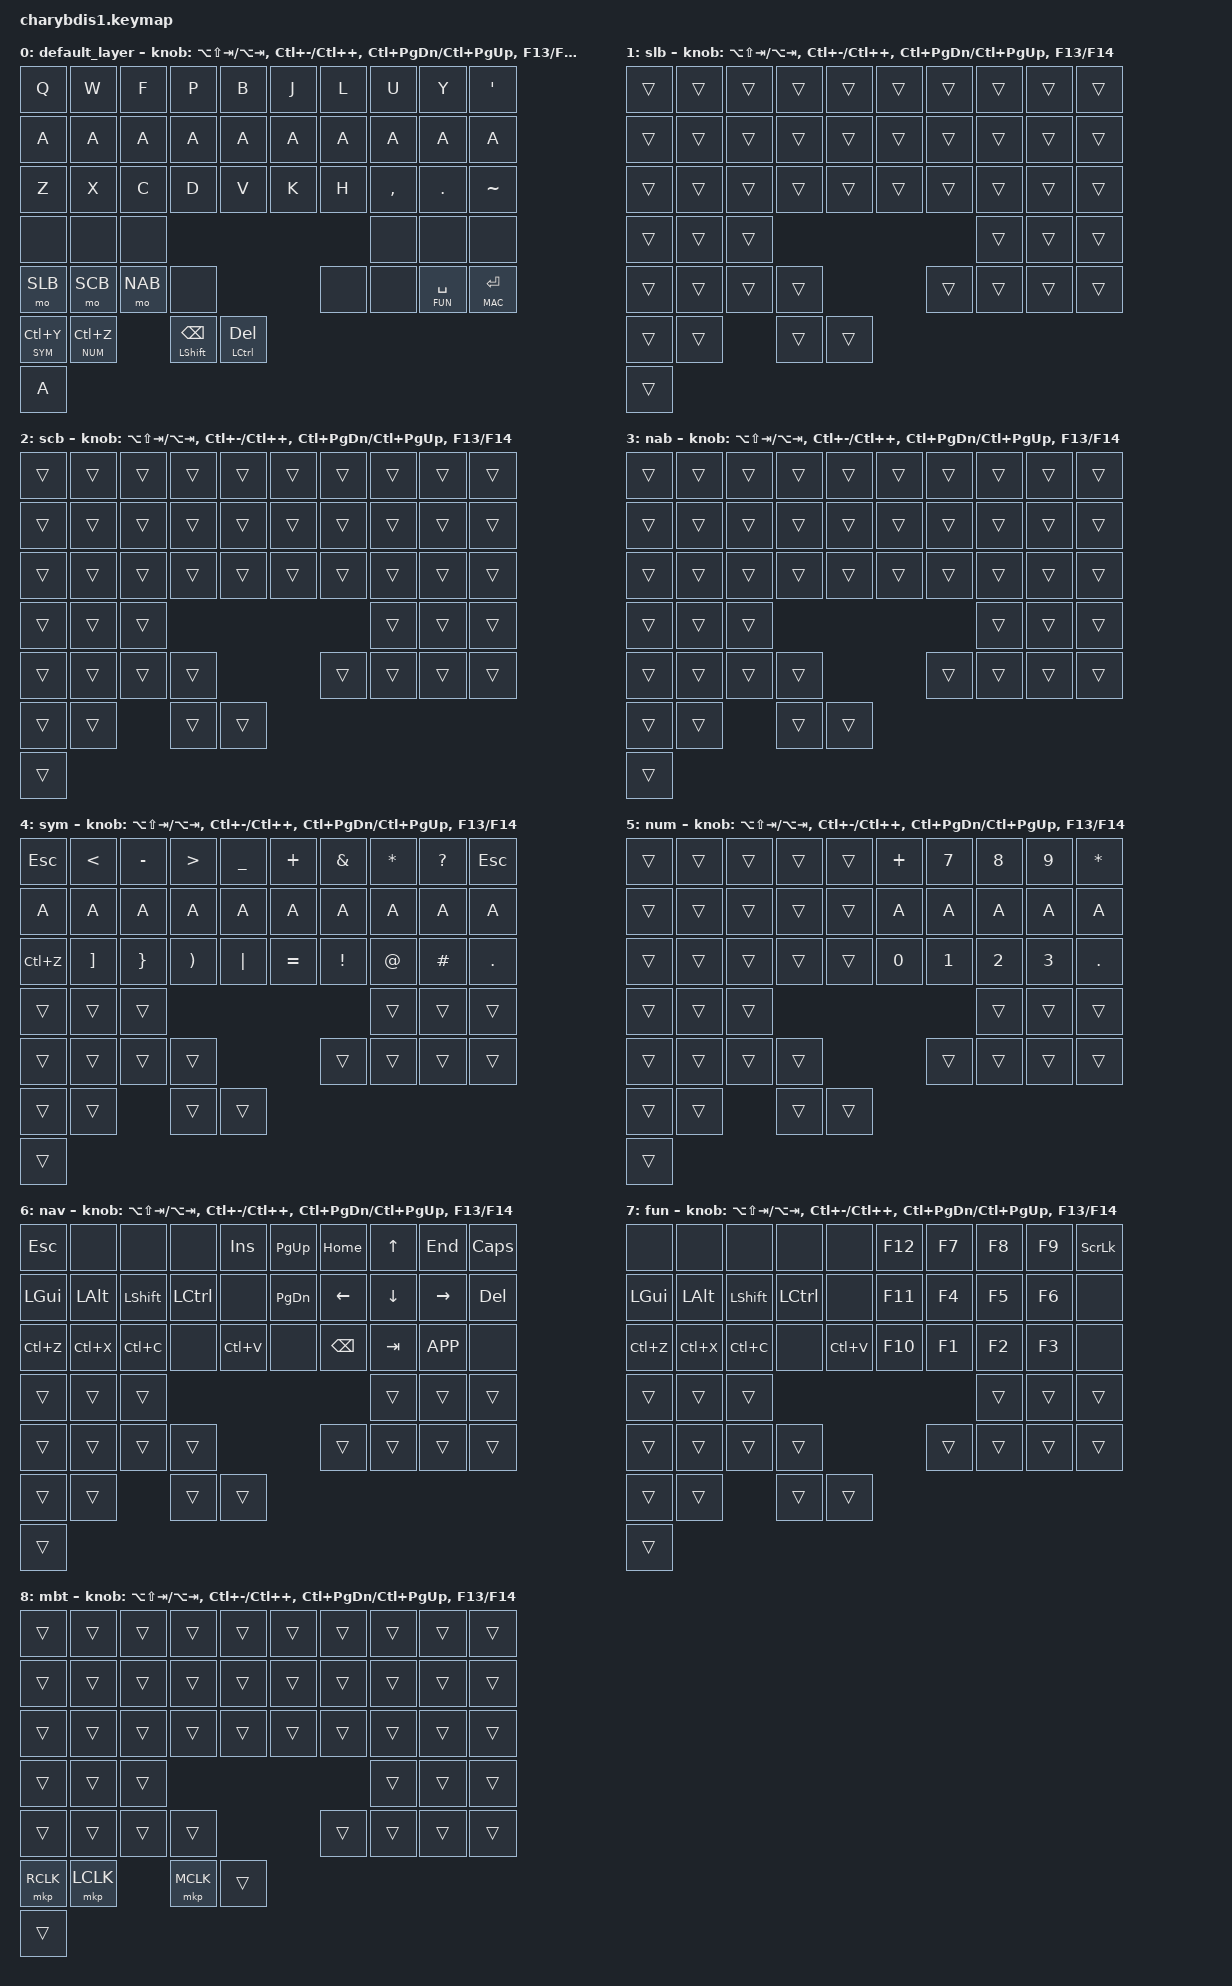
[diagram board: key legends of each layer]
#include <behaviors.dtsi>
#include <dt-bindings/zmk/keys.h>
#include <dt-bindings/zmk/bt.h>
#include <dt-bindings/zmk/mouse.h>
//#include "helper.h"
//#include "behaviors.dtsi"
//#include "combos.dtsi"
//#include "greek.dtsi"

// Requires petejohanson/zmk/tree/stephen/split-encoder (Encoders on both sides)
//- Requires victorlucachi/zmk/blob/pmw3610-aml (Trackball)

// Layers
#define DEF 0 // Alpha
#define SLB 1 // Slow Ball
#define SCB 2 // Scroll Ball
#define NAB 3 // Navigation Ball
#define GRK 4 // Greek
#define SYM 5 // Symbol
#define NAV 6 // Navigation
#define FUN 7 // Function
#define NUM 8 // Number
#define MAC 9 // Macro
#define MBT 10 // Mouse Buttons

&caps_word {
     /delete-property/ ignore-modifiers;
};

/ {
    keymap {
        compatible = "zmk,keymap";

        default_layer {
            bindings = <
    //---------------------------
    //---------------------------
    //----------ALPHA------------
    //---------------------------
    //---------------------------
    //                           LEFT                                                      RIGHT
    //     PINKY      RING      MIDDLE      INDEX      INNER         INNER      INDEX     MIDDLE      RING       PINKY
    // ┌────00────┬────01────┬────02────┬────03────┬────04────┐  ┌────05────┬────06────┬────07────┬────08────┬────09────┐
        &kp Q      &kp W      &kp F      &kp P      &kp B         &kp J      &kp L      &kp U      &kp Y      &kp APOS
    // ├────10────┼────11────┼────12────┼────13────┼────14────┤  ├────15────┼────16────┼────17────┼────18────┼────19────┤
        /*HRML(A,    R,         S,          T)        &kp G         &kp M      HRMR(N,     E,        I,         O)*/
        &kp A &kp A &kp A &kp A &kp A &kp A &kp A &kp A &kp A &kp A 
    // ├────20────┼────21────┼────22────┼────23────┴────24────┘  ├────25────┴────26────┼────27────┼────28────┼────29────┤
        &kp Z      &kp X      &kp C      &kp D      &kp V         &kp K      &kp H      &kp COMMA  &kp DOT    &kp TILDE
    // ├────30────┼────31────┼────32E───┼──────────┴──────────┘  └──────────┴──────────┼────33E───┼────34────┼────35────┤
        &none      &none      &none                                                     &none      &none      &none
    // └──────────┴──────────┴──────────┘                                              └──────────┴──────────┴──────────┘

    //                     THUMB                                                                THUMB
    //     TOP       MIDDLE     BOTTOM     ENCODER                             ENCODER    BOTTOM      MIDDLE       TOP
    // ┌────36────┬────37────┬────38────┬────39────┐                        ┌────40────┬────41───┬──────42─────┬──────43─────┐
        &mo SLB    &mo SCB    &mo NAB    &none                               &none      &none     &lt FUN SPACE &lt MAC ENTER
    // └──────────┴──────────┴──────────┴──────────┘                        └──────────┴─────────┴─────────────┴─────────────┘

    //        UP           DOWN          LEFT           RIGHT          PUSH
    // ┌──────44─────┬──────45─────┬──────46──────┬──────47─────┬───────48──────┐
        &lt SYM LC(Y) &lt NUM LC(Z) &mt LSHFT BKSP &mt LCTRL DEL /*&tog_mo MBT GRK*/
        &kp A 
    // └─────────────┴─────────────┴──────────────┴─────────────┴───────────────┘
            >;
            trackball-bindings = <&tmv_coarse>;
            sensor-bindings = <
                &inc_dec_kp LA(LS(TAB)) LA(TAB)
                &inc_dec_kp LC(MINUS)   LC(PLUS)
                &inc_dec_kp LC(PG_DN)   LC(PG_UP)
                &inc_dec_kp F13         F14
            >;
        };
        slb {
            bindings = <
    //---------------------------
    //---------------------------
    //--------SLOW BALL----------
    //---------------------------
    //---------------------------
    //                           LEFT                                                      RIGHT
    //     PINKY      RING      MIDDLE      INDEX      INNER         INNER      INDEX     MIDDLE      RING       PINKY
    // ┌────00────┬────01────┬────02────┬────03────┬────04────┐  ┌────05────┬────06────┬────07────┬────08────┬────09────┐
        &trans     &trans     &trans     &trans     &trans        &trans     &trans     &trans     &trans     &trans
    // ├────10────┼────11────┼────12────┼────13────┼────14────┤  ├────15────┼────16────┼────17────┼────18────┼────19────┤
        &trans     &trans     &trans     &trans     &trans        &trans     &trans     &trans     &trans     &trans
    // ├────20────┼────21────┼────22────┼────23────┴────24────┘  ├────25────┴────26────┼────27────┼────28────┼────29────┤
        &trans     &trans     &trans     &trans     &trans        &trans     &trans     &trans     &trans     &trans
    // ├────30────┼────31────┼────32E───┼──────────┴──────────┘  └──────────┴──────────┼────33E───┼────34────┼────35────┤
        &trans     &trans     &trans                                                    &trans     &trans     &trans
    // └──────────┴──────────┴──────────┘                                              └──────────┴──────────┴──────────┘

    //                     THUMB                                                                THUMB
    //     TOP       MIDDLE     BOTTOM     ENCODER                             ENCODER    BOTTOM     MIDDLE      TOP
    // ┌────36────┬────37────┬────38────┬────39────┐                        ┌────40────┬────41────┬────42────┬────43────┐
        &trans     &trans     &trans     &trans                              &trans     &trans     &trans     &trans
    // └──────────┴──────────┴──────────┴──────────┘                        └──────────┴──────────┴──────────┴──────────┘

    //      UP        DOWN       LEFT       RIGHT      PUSH
    // ┌────44────┬────45────┬────46────┬────47────┬────48────┐
        &trans     &trans     &trans     &trans     &trans
    // └──────────┴──────────┴──────────┴──────────┴──────────┘
            >;
            trackball-bindings = <&tmv_fine>;
            sensor-bindings = <
                &inc_dec_kp LA(LS(TAB)) LA(TAB)
                &inc_dec_kp LC(MINUS)   LC(PLUS)
                &inc_dec_kp LC(PG_DN)   LC(PG_UP)
                &inc_dec_kp F13         F14
            >;
        };
        scb {
            bindings = <
    //---------------------------
    //---------------------------
    //-------SCROLL BALL---------
    //---------------------------
    //---------------------------
    //                           LEFT                                                      RIGHT
    //     PINKY      RING      MIDDLE      INDEX      INNER         INNER      INDEX     MIDDLE      RING       PINKY
    // ┌────00────┬────01────┬────02────┬────03────┬────04────┐  ┌────05────┬────06────┬────07────┬────08────┬────09────┐
        &trans     &trans     &trans     &trans     &trans        &trans     &trans     &trans     &trans     &trans
    // ├────10────┼────11────┼────12────┼────13────┼────14────┤  ├────15────┼────16────┼────17────┼────18────┼────19────┤
        &trans     &trans     &trans     &trans     &trans        &trans     &trans     &trans     &trans     &trans
    // ├────20────┼────21────┼────22────┼────23────┴────24────┘  ├────25────┴────26────┼────27────┼────28────┼────29────┤
        &trans     &trans     &trans     &trans     &trans        &trans     &trans     &trans     &trans     &trans
    // ├────30────┼────31────┼────32E───┼──────────┴──────────┘  └──────────┴──────────┼────33E───┼────34────┼────35────┤
        &trans     &trans     &trans                                                    &trans     &trans     &trans
    // └──────────┴──────────┴──────────┘                                              └──────────┴──────────┴──────────┘

    //                     THUMB                                                                THUMB
    //     TOP       MIDDLE     BOTTOM     ENCODER                             ENCODER    BOTTOM     MIDDLE      TOP
    // ┌────36────┬────37────┬────38────┬────39────┐                        ┌────40────┬────41────┬────42────┬────43────┐
        &trans     &trans     &trans     &trans                              &trans     &trans     &trans     &trans
    // └──────────┴──────────┴──────────┴──────────┘                        └──────────┴──────────┴──────────┴──────────┘

    //      UP        DOWN       LEFT       RIGHT      PUSH
    // ┌────44────┬────45────┬────46────┬────47────┬────48────┐
        &trans     &trans     &trans     &trans     &trans
    // └──────────┴──────────┴──────────┴──────────┴──────────┘
            >;
            trackball-bindings = <&tsl>;
            sensor-bindings = <
                &inc_dec_kp LA(LS(TAB)) LA(TAB)
                &inc_dec_kp LC(MINUS)   LC(PLUS)
                &inc_dec_kp LC(PG_DN)   LC(PG_UP)
                &inc_dec_kp F13         F14
            >;
        };
        nab {
            bindings = <
    //---------------------------
    //---------------------------
    //-----NAVIGATION BALL-------
    //---------------------------
    //---------------------------
    //                           LEFT                                                      RIGHT
    //     PINKY      RING      MIDDLE      INDEX      INNER         INNER      INDEX     MIDDLE      RING       PINKY
    // ┌────00────┬────01────┬────02────┬────03────┬────04────┐  ┌────05────┬────06────┬────07────┬────08────┬────09────┐
        &trans     &trans     &trans     &trans     &trans        &trans     &trans     &trans     &trans     &trans
    // ├────10────┼────11────┼────12────┼────13────┼────14────┤  ├────15────┼────16────┼────17────┼────18────┼────19────┤
        &trans     &trans     &trans     &trans     &trans        &trans     &trans     &trans     &trans     &trans
    // ├────20────┼────21────┼────22────┼────23────┴────24────┘  ├────25────┴────26────┼────27────┼────28────┼────29────┤
        &trans     &trans     &trans     &trans     &trans        &trans     &trans     &trans     &trans     &trans
    // ├────30────┼────31────┼────32E───┼──────────┴──────────┘  └──────────┴──────────┼────33E───┼────34────┼────35────┤
        &trans     &trans     &trans                                                    &trans     &trans     &trans
    // └──────────┴──────────┴──────────┘                                              └──────────┴──────────┴──────────┘

    //                     THUMB                                                                THUMB
    //     TOP       MIDDLE     BOTTOM     ENCODER                             ENCODER    BOTTOM     MIDDLE      TOP
    // ┌────36────┬────37────┬────38────┬────39────┐                        ┌────40────┬────41────┬────42────┬────43────┐
        &trans     &trans     &trans     &trans                              &trans     &trans     &trans     &trans
    // └──────────┴──────────┴──────────┴──────────┘                        └──────────┴──────────┴──────────┴──────────┘

    //      UP        DOWN       LEFT       RIGHT      PUSH
    // ┌────44────┬────45────┬────46────┬────47────┬────48────┐
        &trans     &trans     &trans     &trans     &trans
    // └──────────┴──────────┴──────────┴──────────┴──────────┘
            >;
            trackball-bindings = <&tkp RIGHT LEFT DOWN UP>;
            sensor-bindings = <
                &inc_dec_kp LA(LS(TAB)) LA(TAB)
                &inc_dec_kp LC(MINUS)   LC(PLUS)
                &inc_dec_kp LC(PG_DN)   LC(PG_UP)
                &inc_dec_kp F13         F14
            >;
        };
        /*grk {
            bindings = <
    //---------------------------
    //---------------------------
    //----------GREEK------------
    //---------------------------
    //---------------------------
    //                           LEFT                                                      RIGHT
    //     PINKY      RING      MIDDLE      INDEX      INNER         INNER      INDEX     MIDDLE      RING       PINKY
    // ┌────00────┬────01────┬────02────┬────03────┬────04────┐  ┌────05────┬────06────┬────07────┬────08────┬────09────┐
        &el_ko     &el_se     &el_ph     &el_p      &el_b         &el_xi     &el_l      &el_u      &el_th     &kp APOS
    // ├────10────┼────11────┼────12────┼────13────┼────14────┤  ├────15────┼────16────┼────17────┼────18────┼────19────┤
        &el_a      &el_r      &el_s      &el_t      &el_g         &el_m      &el_n      &el_e      &el_i      &el_o
    // ├────20────┼────21────┼────22────┼────23────┴────24────┘  ├────25────┴────26────┼────27────┼────28────┼────29────┤
        &el_z      &el_x      &el_ps     &el_d      &el_w         &el_k      &el_h      &trans     &trans     &el_sp
    // ├────30────┼────31────┼────32E───┼──────────┴──────────┘  └──────────┴──────────┼────33E───┼────34────┼────35────┤
        &trans     &trans     &trans                                                    &trans     &trans     &trans
    // └──────────┴──────────┴──────────┘                                              └──────────┴──────────┴──────────┘

    //                     THUMB                                                                THUMB
    //     TOP       MIDDLE     BOTTOM     ENCODER                             ENCODER    BOTTOM     MIDDLE      TOP
    // ┌────36────┬────37────┬────38────┬────39────┐                        ┌────40────┬────41────┬────42────┬────43────┐
        &trans     &trans     &trans     &trans                              &trans     &trans     &trans     &trans
    // └──────────┴──────────┴──────────┴──────────┘                        └──────────┴──────────┴──────────┴──────────┘

    //      UP        DOWN       LEFT       RIGHT      PUSH
    // ┌────44────┬────45────┬────46────┬────47────┬────48────┐
        &trans     &trans     &trans     &trans     &trans
    // └──────────┴──────────┴──────────┴──────────┴──────────┘
            >;
            trackball-bindings = <&tmv_coarse>;
            sensor-bindings = <
                &inc_dec_kp LA(LS(TAB)) LA(TAB)
                &inc_dec_kp LC(MINUS)   LC(PLUS)
                &inc_dec_kp LC(PG_DN)   LC(PG_UP)
                &inc_dec_kp F13         F14
            >;
        };*/
        sym {
            bindings = <
    //---------------------------
    //---------------------------
    //----------SYMBOL-----------
    //---------------------------
    //---------------------------
    //                           LEFT                                                      RIGHT
    //     PINKY      RING      MIDDLE      INDEX      INNER         INNER      INDEX     MIDDLE      RING       PINKY
    // ┌────00────┬────01────┬────02────┬────03────┬────04────┐  ┌────05────┬────06────┬────07────┬────08────┬────09────┐
        &kp ESC    &kp LT     &kp MINUS  &kp GT     &kp UNDER     &kp PLUS   &kp AMPS   &kp STAR   &kp QMARK  &kp ESC
    // ├────10────┼────11────┼────12────┼────13────┼────14────┤  ├────15────┼────16────┼────17────┼────18────┼────19────┤
        /*HRML(TAB,  LBKT,      LBRC,      LPAR)      &kp COLON     &kp SEMI   HRMR(DLLR, PRCNT,     CARET,     FSLH)*/
        &kp A &kp A &kp A &kp A &kp A &kp A &kp A &kp A &kp A &kp A 
    // ├────20────┼────21────┼────22────┼────23────┴────24────┘  ├────25────┴────26────┼────27────┼────28────┼────29────┤
        &kp LC(Z)  &kp RBKT   &kp RBRC   &kp RPAR   &kp PIPE      &kp EQUAL  &kp EXCL   &kp AT     &kp HASH   &kp DOT
    // ├────30────┼────31────┼────32E───┼──────────┴──────────┘  └──────────┴──────────┼────33E───┼────34────┼────35────┤
        &trans     &trans     &trans                                                    &trans     &trans     &trans
    // └──────────┴──────────┴──────────┘                                              └──────────┴──────────┴──────────┘

    //                     THUMB                                                                THUMB
    //     TOP       MIDDLE     BOTTOM     ENCODER                             ENCODER    BOTTOM     MIDDLE      TOP
    // ┌────36────┬────37────┬────38────┬────39────┐                        ┌────40────┬────41────┬────42────┬────43────┐
        &trans     &trans     &trans     &trans                              &trans     &trans     &trans     &trans
    // └──────────┴──────────┴──────────┴──────────┘                        └──────────┴──────────┴──────────┴──────────┘

    //      UP        DOWN       LEFT       RIGHT      PUSH
    // ┌────44────┬────45────┬────46────┬────47────┬────48────┐
        &trans     &trans     &trans     &trans     &trans
    // └──────────┴──────────┴──────────┴──────────┴──────────┘
            >;
            trackball-bindings = <&tmv_coarse>;
            sensor-bindings = <
                &inc_dec_kp LA(LS(TAB)) LA(TAB)
                &inc_dec_kp LC(MINUS)   LC(PLUS)
                &inc_dec_kp LC(PG_DN)   LC(PG_UP)
                &inc_dec_kp F13         F14
            >;
        };
        num {
            bindings = <
    //---------------------------
    //---------------------------
    //----------NUMBER-----------
    //---------------------------
    //---------------------------
    //                           LEFT                                                      RIGHT
    //     PINKY      RING      MIDDLE      INDEX      INNER         INNER      INDEX     MIDDLE      RING       PINKY
    // ┌────00────┬────01────┬────02────┬────03────┬────04────┐  ┌────05────┬────06────┬────07────┬────08────┬────09────┐
        &trans     &trans     &trans     &trans     &trans        &kp PLUS   &kp N7     &kp N8     &kp N9     &kp STAR
    // ├────10────┼────11────┼────12────┼────13────┼────14────┤  ├────15────┼────16────┼────17────┼────18────┼────19────┤
        &trans     &trans     &trans     &trans     &trans        /*&kp MINUS  HRMR(N4,   N5,        N6,        FSLH)*/
        &kp A &kp A &kp A &kp A &kp A 
    // ├────20────┼────21────┼────22────┼────23────┴────24────┘  ├────25────┴────26────┼────27────┼────28────┼────29────┤
        &trans     &trans     &trans     &trans     &trans        &kp N0     &kp N1     &kp N2     &kp N3     &kp DOT
    // ├────30────┼────31────┼────32E───┼──────────┴──────────┘  └──────────┴──────────┼────33E───┼────34────┼────35────┤
        &trans     &trans     &trans                                                    &trans     &trans     &trans
    // └──────────┴──────────┴──────────┘                                              └──────────┴──────────┴──────────┘

    //                     THUMB                                                                THUMB
    //     TOP       MIDDLE     BOTTOM     ENCODER                             ENCODER    BOTTOM     MIDDLE      TOP
    // ┌────36────┬────37────┬────38────┬────39────┐                        ┌────40────┬────41────┬────42────┬────43────┐
        &trans     &trans     &trans     &trans                              &trans     &trans     &trans     &trans
    // └──────────┴──────────┴──────────┴──────────┘                        └──────────┴──────────┴──────────┴──────────┘

    //      UP        DOWN       LEFT       RIGHT      PUSH
    // ┌────44────┬────45────┬────46────┬────47────┬────48────┐
        &trans     &trans     &trans     &trans     &trans
    // └──────────┴──────────┴──────────┴──────────┴──────────┘
            >;
            trackball-bindings = <&tmv_coarse>;
            sensor-bindings = <
                &inc_dec_kp LA(LS(TAB)) LA(TAB)
                &inc_dec_kp LC(MINUS)   LC(PLUS)
                &inc_dec_kp LC(PG_DN)   LC(PG_UP)
                &inc_dec_kp F13         F14
            >;
        };
        nav {
            bindings = <
    //---------------------------
    //---------------------------
    //--------NAVIGATION---------
    //---------------------------
    //---------------------------
    //                           LEFT                                                      RIGHT
    //     PINKY      RING      MIDDLE      INDEX      INNER         INNER      INDEX     MIDDLE      RING       PINKY
    // ┌────00────┬────01────┬────02────┬────03────┬────04────┐  ┌────05────┬────06────┬────07────┬────08────┬────09────┐
        &kp ESC    &none      &none      &none      &kp INS       &kp PG_UP  &kp HOME   &kp UP     &kp END    &kp CAPS
    // ├────10────┼────11────┼────12────┼────13────┼────14────┤  ├────15────┼────16────┼────17────┼────18────┼────19────┤
        &kp LGUI   &kp LALT   &kp LSHFT  &kp LCTRL  &none         &kp PG_DN  &kp LEFT   &kp DOWN   &kp RIGHT  &kp DEL
    // ├────20────┼────21────┼────22────┼────23────┴────24────┘  ├────25────┴────26────┼────27────┼────28────┼────29────┤
        &kp LC(Z)  &kp LC(X)  &kp LC(C)  &none      &kp LC(V)     &none      &kp BSPC   &kp TAB    &kp K_APP  &none
    // ├────30────┼────31────┼────32E───┼──────────┴──────────┘  └──────────┴──────────┼────33E───┼────34────┼────35────┤
        &trans     &trans     &trans                                                    &trans     &trans     &trans
    // └──────────┴──────────┴──────────┘                                              └──────────┴──────────┴──────────┘

    //                     THUMB                                                                THUMB
    //     TOP       MIDDLE     BOTTOM     ENCODER                             ENCODER    BOTTOM     MIDDLE      TOP
    // ┌────36────┬────37────┬────38────┬────39────┐                        ┌────40────┬────41────┬────42────┬────43────┐
        &trans     &trans     &trans     &trans                              &trans     &trans     &trans     &trans
    // └──────────┴──────────┴──────────┴──────────┘                        └──────────┴──────────┴──────────┴──────────┘

    //      UP        DOWN       LEFT       RIGHT      PUSH
    // ┌────44────┬────45────┬────46────┬────47────┬────48────┐
        &trans     &trans     &trans     &trans     &trans
    // └──────────┴──────────┴──────────┴──────────┴──────────┘
            >;
            trackball-bindings = <&tmv_coarse>;
            sensor-bindings = <
                &inc_dec_kp LA(LS(TAB)) LA(TAB)
                &inc_dec_kp LC(MINUS)   LC(PLUS)
                &inc_dec_kp LC(PG_DN)   LC(PG_UP)
                &inc_dec_kp F13         F14
            >;
        };
        fun {
            bindings = <
    //---------------------------
    //---------------------------
    //----------FUNCTION------------
    //---------------------------
    //---------------------------
    //                           LEFT                                                      RIGHT
    //     PINKY      RING      MIDDLE      INDEX      INNER         INNER      INDEX     MIDDLE      RING       PINKY
    // ┌────00────┬────01────┬────02────┬────03────┬────04────┐  ┌────05────┬────06────┬────07────┬────08────┬────09────┐
        &none      &none      &none      &none      &none         &kp F12    &kp F7     &kp F8     &kp F9     &kp SLCK
    // ├────10────┼────11────┼────12────┼────13────┼────14────┤  ├────15────┼────16────┼────17────┼────18────┼────19────┤
        &kp LGUI   &kp LALT   &kp LSHFT  &kp LCTRL  &none         &kp F11    &kp F4     &kp F5     &kp F6     &none
    // ├────20────┼────21────┼────22────┼────23────┴────24────┘  ├────25────┴────26────┼────27────┼────28────┼────29────┤
        &kp LC(Z)  &kp LC(X)  &kp LC(C)  &none      &kp LC(V)     &kp F10    &kp F1     &kp F2     &kp F3     &none
    // ├────30────┼────31────┼────32E───┼──────────┴──────────┘  └──────────┴──────────┼────33E───┼────34────┼────35────┤
        &trans     &trans     &trans                                                    &trans     &trans     &trans
    // └──────────┴──────────┴──────────┘                                              └──────────┴──────────┴──────────┘

    //                     THUMB                                                                THUMB
    //     TOP       MIDDLE     BOTTOM     ENCODER                             ENCODER    BOTTOM     MIDDLE      TOP
    // ┌────36────┬────37────┬────38────┬────39────┐                        ┌────40────┬────41────┬────42────┬────43────┐
        &trans     &trans     &trans     &trans                              &trans     &trans     &trans     &trans
    // └──────────┴──────────┴──────────┴──────────┘                        └──────────┴──────────┴──────────┴──────────┘

    //      UP        DOWN       LEFT       RIGHT      PUSH
    // ┌────44────┬────45────┬────46────┬────47────┬────48────┐
        &trans     &trans     &trans     &trans     &trans
    // └──────────┴──────────┴──────────┴──────────┴──────────┘
            >;
            trackball-bindings = <&tmv_coarse>;
            sensor-bindings = <
                &inc_dec_kp LA(LS(TAB)) LA(TAB)
                &inc_dec_kp LC(MINUS)   LC(PLUS)
                &inc_dec_kp LC(PG_DN)   LC(PG_UP)
                &inc_dec_kp F13         F14
            >;
        };
        /*mac {
            bindings = <
    //---------------------------
    //---------------------------
    //----------MACRO------------
    //---------------------------
    //---------------------------
    //                           LEFT                                                      RIGHT
    //     PINKY      RING      MIDDLE      INDEX      INNER         INNER      INDEX     MIDDLE      RING       PINKY
    // ┌────00────┬────01────┬────02────┬────03────┬────04────┐  ┌────05────┬────06────┬────07────┬────08────┬────09────┐
        &none      &none      &none      &none      &none         &m_yahoo   &none        &none      &none      &none
    // ├────10────┼────11────┼────12────┼────13────┼────14────┤  ├────15────┼────16────┼────17────┼────18────┼────19────┤
        &kp LGUI   &kp LALT   &kp LSHFT  &kp LCTRL  &none         &m_gmail   &m_user    &m_pass    &none      &none
    // ├────20────┼────21────┼────22────┼────23────┴────24────┘  ├────25────┴────26────┼────27────┼────28────┼────29────┤
        &none      &none      &none      &none      &none         &none      &none      &none      &none      &none
    // ├────30────┼────31────┼────32E───┼──────────┴──────────┘  └──────────┴──────────┼────33E───┼────34────┼────35────┤
        &trans     &trans     &trans                                                    &trans     &trans     &trans
    // └──────────┴──────────┴──────────┘                                              └──────────┴──────────┴──────────┘

    //                     THUMB                                                                THUMB
    //     TOP       MIDDLE     BOTTOM     ENCODER                             ENCODER    BOTTOM     MIDDLE      TOP
    // ┌────36────┬────37────┬────38────┬────39────┐                        ┌────40────┬────41────┬────42────┬────43────┐
        &trans     &trans     &trans     &trans                              &trans     &trans     &trans     &trans
    // └──────────┴──────────┴──────────┴──────────┘                        └──────────┴──────────┴──────────┴──────────┘

    //      UP        DOWN       LEFT       RIGHT      PUSH
    // ┌────44────┬────45────┬────46────┬────47────┬────48────┐
        &trans     &trans     &trans     &trans     &trans
    // └──────────┴──────────┴──────────┴──────────┴──────────┘
            >;
            trackball-bindings = <&tmv_coarse>;
            sensor-bindings = <
                &inc_dec_kp LA(LS(TAB)) LA(TAB)
                &inc_dec_kp LC(MINUS)   LC(PLUS)
                &inc_dec_kp LC(PG_DN)   LC(PG_UP)
                &inc_dec_kp F13         F14
            >;
        };*/
        mbt {
            bindings = <
    //---------------------------
    //---------------------------
    //------MOUSE BUTTONS--------
    //---------------------------
    //---------------------------
    //                           LEFT                                                      RIGHT
    //     PINKY      RING      MIDDLE      INDEX      INNER         INNER      INDEX     MIDDLE      RING       PINKY
    // ┌────00────┬────01────┬────02────┬────03────┬────04────┐  ┌────05────┬────06────┬────07────┬────08────┬────09────┐
        &trans     &trans     &trans     &trans     &trans        &trans     &trans     &trans     &trans     &trans
    // ├────10────┼────11────┼────12────┼────13────┼────14────┤  ├────15────┼────16────┼────17────┼────18────┼────19────┤
        &trans     &trans     &trans     &trans     &trans        &trans     &trans     &trans     &trans     &trans
    // ├────20────┼────21────┼────22────┼────23────┴────24────┘  ├────25────┴────26────┼────27────┼────28────┼────29────┤
        &trans     &trans     &trans     &trans     &trans        &trans     &trans     &trans     &trans     &trans
    // ├────30────┼────31────┼────32E───┼──────────┴──────────┘  └──────────┴──────────┼────33E───┼────34────┼────35────┤
        &trans     &trans     &trans                                                    &trans     &trans     &trans
    // └──────────┴──────────┴──────────┘                                              └──────────┴──────────┴──────────┘

    //                     THUMB                                                                THUMB
    //     TOP       MIDDLE     BOTTOM     ENCODER                             ENCODER    BOTTOM     MIDDLE      TOP
    // ┌────36────┬────37────┬────38────┬────39────┐                        ┌────40────┬────41────┬────42────┬────43────┐
        &trans     &trans     &trans     &trans                              &trans     &trans     &trans     &trans
    // └──────────┴──────────┴──────────┴──────────┘                        └──────────┴──────────┴──────────┴──────────┘

    //      UP        DOWN       LEFT       RIGHT      PUSH
    // ┌────44────┬────45────┬────46────┬────47────┬────48────┐
        &mkp RCLK  &mkp LCLK  &mkp MCLK  &trans     &trans
    // └──────────┴──────────┴──────────┴──────────┴──────────┘
            >;
            trackball-bindings = <&tmv_coarse>;
            sensor-bindings = <
                &inc_dec_kp LA(LS(TAB)) LA(TAB)
                &inc_dec_kp LC(MINUS)   LC(PLUS)
                &inc_dec_kp LC(PG_DN)   LC(PG_UP)
                &inc_dec_kp F13         F14
            >;
        };
    };
};
